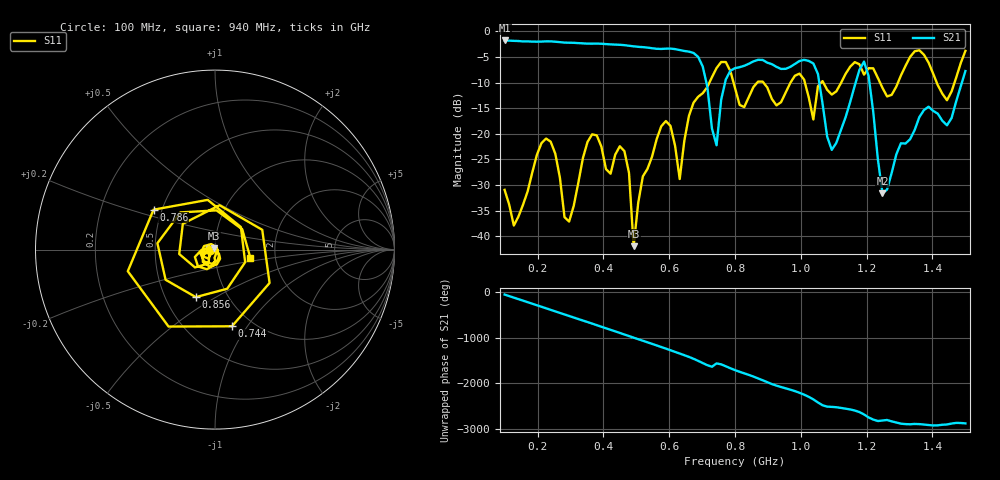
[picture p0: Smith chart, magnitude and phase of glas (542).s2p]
! NanoVNA-App
! Date: 2025-09-25 15:59:41
! Start: 100MHz Stop: 1,5GHz Points: 101
! S-Parameter data: F S11 S21 S12 S22
# Hz S RI R 50
!  Frequency  S11_Real  S11_Imag  S21_Real  S21_Imag  S12_Real  S12_Imag  S22_Real  S22_Imag
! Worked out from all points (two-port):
!   101 points, 100 MHz to 1.5 GHz, reference 50 ohm
!   highest |S21| = -1.80 dB at 100 MHz (marker M1); lowest = -31.6 dB at 1.248 GHz (marker M2)
!   |S21| within 3 dB of the highest: start of sweep to 684.4 MHz
!   lowest |S11| = -41.9 dB at 492 MHz (marker M3), VSWR 1.02, Z = 49.5 + j0.628 ohm
!   |S11| at or under -10 dB: start of sweep to 722.5 MHz; 795.5 MHz to 867.7 MHz (72.23 MHz wide, 8.69 % of centre); 886.2 MHz to 968.8 MHz (82.64 MHz wide, 8.91 % of centre) (the widest 3 of 7)
!   S12 and S22 are empty: the file has one direction only
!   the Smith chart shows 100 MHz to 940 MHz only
!   S11 on the Smith chart (normalised r, x): 100 MHz: 0.95, -0.01; 744 MHz: 0.81, -0.85; 786 MHz: 0.45, +0.24; 856 MHz: 0.71, -0.41; 940 MHz: 1.48, -0.15
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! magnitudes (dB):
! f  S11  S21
! 100 MHz  -30.9  -1.8
! 128 MHz  -37.9  -1.9
! 226 MHz  -20.9  -2.0
! 296 MHz  -37.1  -2.2
! 338 MHz  -24.7  -2.4
! 464 MHz  -23.4  -2.7
! 492 MHz  -41.9  -2.9
! 576 MHz  -18.5  -3.5
! 632 MHz  -28.8  -3.7
! 702 MHz  -12.1  -6.9
! 744 MHz  -7.2  -22.2
! 786 MHz  -7.8  -7.7
! 800 MHz  -11.1  -7.2
! 856 MHz  -10.9  -5.9
! 940 MHz  -13.8  -7.4
! 996 MHz  -8.3  -5.8
! 1.038 GHz  -17.2  -6.3
! 1.094 GHz  -12.4  -23.1
! 1.192 GHz  -8.5  -5.9
! 1.248 GHz  -11.0  -31.6
! 1.276 GHz  -12.4  -27.6
! 1.5 GHz  -3.8  -7.8
